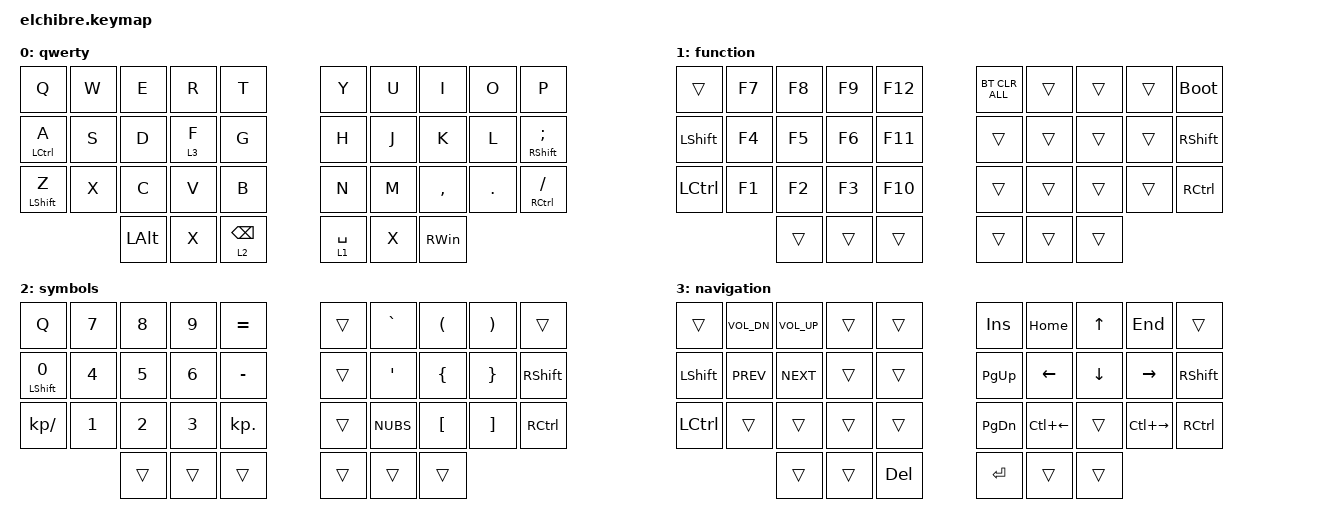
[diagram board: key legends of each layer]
#include <behaviors.dtsi>
#include <dt-bindings/zmk/bt.h>
#include <dt-bindings/zmk/keys.h>
#include <dt-bindings/zmk/outputs.h>

&lt {
    tapping-term-ms = <180>;
    flavor = "balanced";
};

&mt {
    tapping-term-ms = <180>;
    flavor = "balanced";
};

/ {
    combos {
        compatible = "zmk,combos";
        combo_esc {
            timeout-ms = <50>;
            key-positions = <0 1>;
            bindings = <&kp ESC>;
        };
        combo_enter {
            timeout-ms = <50>;
            key-positions = <17 18>;
            bindings = <&kp ENTER>;
        };
    };
};

/ {
    keymap {
        compatible = "zmk,keymap";

        qwerty {
            bindings = <
                &kp Q        &kp W    &kp E  &kp R    &kp T     &kp Y &kp U &kp I     &kp O      &kp P
                &mt LCTRL A  &kp S    &kp D  &lt 3 F  &kp G     &kp H &kp J &kp K     &kp L      &mt RSHIFT SEMI
                &mt LSHIFT Z &kp X    &kp C  &kp V    &kp B     &kp N &kp M &kp COMMA &kp PERIOD &mt RCTRL SLASH
                             &kp LALT &kp X  &lt 2 BACKSPACE    &lt 1 SPACE &kp X     &kp RWIN
            >;
        };

        function {
            bindings = <
                &trans    &kp F7 &kp F8 &kp F9 &kp F12          &bt BT_CLR_ALL &trans &trans &trans &bootloader
                &kp LSHFT &kp F4 &kp F5 &kp F6 &kp F11          &trans &trans &trans &trans &kp RSHIFT
                &kp LCTRL &kp F1 &kp F2 &kp F3 &kp F10          &trans &trans &trans &trans &kp RCTRL
                              &trans &trans &trans              &trans &trans &trans
            >;
        };

        symbols {
            bindings = <
                &kp Q         &kp N7 &kp N8 &kp N9 &kp EQUAL       &trans &kp GRAVE &kp LPAR &kp RPAR &trans
                &mt LSHIFT N0 &kp N4 &kp N5 &kp N6 &kp MINUS       &trans &kp SQT   &kp LBRC &kp RBRC &kp RSHIFT
                &kp KP_SLASH  &kp N1 &kp N2 &kp N3 &kp KP_DOT      &trans &kp NUBS  &kp LBKT &kp RBKT &kp RCTRL
                                       &trans &trans &trans        &trans &trans &trans
            >;
        };

        navigation {
            bindings = <
                &trans    &kp C_VOL_DN &kp C_VOL_UP &trans &trans          &kp INS   &kp HOME     &kp UP   &kp END   &trans
                &kp LSHFT &kp C_PREV   &kp C_NEXT   &trans &trans          &kp PG_UP &kp LEFT     &kp DOWN &kp RIGHT &kp RSHFT
                &kp LCTRL &trans       &trans       &trans &trans          &kp PG_DN &kp LC(LEFT) &trans   &kp LC(RIGHT)    &kp RCTRL
                                       &trans   &trans     &kp DEL         &kp ENTER  &trans  &trans
            >;
        };
    };
};
